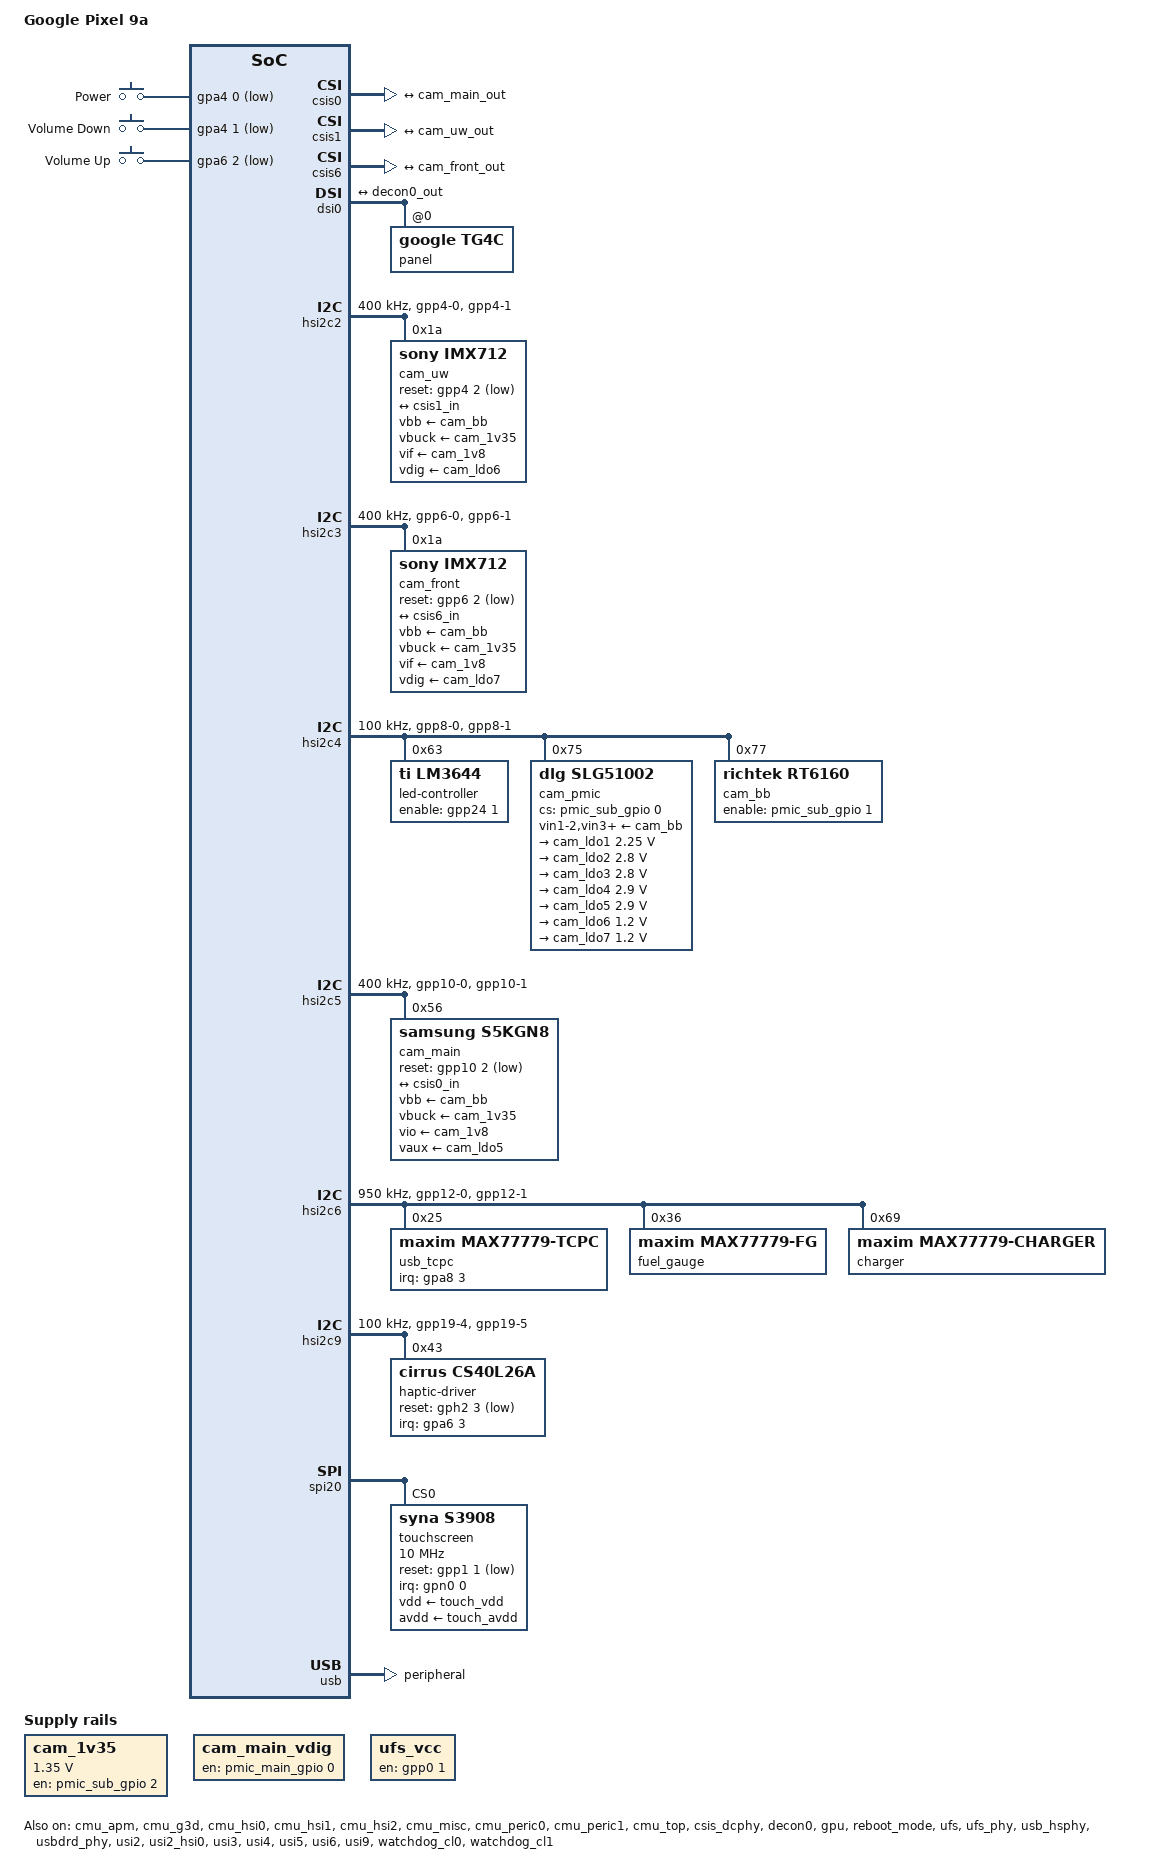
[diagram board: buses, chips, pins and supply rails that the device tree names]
// SPDX-License-Identifier: GPL-2.0-only
/*
 * Google Pixel 9a (tegu): first-light board file.
 *
 * Bootloader selector values from Google's GPL zumapro device tree.
 * Copyright 2023 Google LLC.
 */

/dts-v1/;

#include <dt-bindings/clock/google,zumapro-acpm.h>
#include <dt-bindings/gpio/gpio.h>
#include <dt-bindings/input/linux-event-codes.h>
#include <dt-bindings/leds/common.h>
#include <dt-bindings/media/video-interfaces.h>
#include <dt-bindings/usb/pd.h>
#include "../exynos-pinctrl.h"
#include "zumapro.dtsi"
#include "zumapro-reserved-memory.dtsi"

/ {
	model = "Google Pixel 9a";
	compatible = "google,zumapro-tegu", "google,zumapro";

	chosen {
		/*
		 * ABL requires bootargs to exist and appends its own after
		 * these. It also appends console=null, so a panic is silent:
		 * panic=10 resets the phone by itself.
		 * The firmware advertises PSCI SYSTEM_SUSPEND, but Linux has no
		 * Tensor SoC sleep sequence for "deep": suspend to idle only.
		 */
		bootargs = "console=tty0 clk_ignore_unused pd_ignore_unused rdinit=/init panic=10 mem_sleep_default=s2idle";
	};

	/*
	 * ABL picks the base DTB by matching these children against the
	 * SoC's product id, revision and package. The Pixel 9a has an A0 or
	 * A1 IPOP part.
	 */
	soc_compatible {
		A0_IPOP {
			product_id = <0x9875>;
			major = <0>;
			minor = <0>;
			pkg_mode = <1>;
		};

		A1_IPOP {
			product_id = <0x9875>;
			major = <0>;
			minor = <1>;
			pkg_mode = <1>;
		};
	};

	gpio-keys {
		compatible = "gpio-keys";

		key-power {
			label = "Power";
			linux,code = <KEY_POWER>;
			gpios = <&gpa4 0 GPIO_ACTIVE_LOW>;
			wakeup-source;
		};

		key-volume-down {
			label = "Volume Down";
			linux,code = <KEY_VOLUMEDOWN>;
			gpios = <&gpa4 1 GPIO_ACTIVE_LOW>;
		};

		key-volume-up {
			label = "Volume Up";
			linux,code = <KEY_VOLUMEUP>;
			gpios = <&gpa6 2 GPIO_ACTIVE_LOW>;
		};
	};

	/*
	 * The GPU's levels: the shader rates of the Pixel 9a's GPU DVFS table
	 * up to 890 MHz, each with its paired L2 rate through the ACPM "gpu"
	 * clock; gpu-thermal throttles them from 85 C. 940 MHz, the table's
	 * top, is left out until it has run on the 9a.
	 */
	gpu_opp: opp-table-gpu {
		compatible = "operating-points-v2";

		opp-150000000 {
			opp-hz = /bits/ 64 <150000000>;
		};

		opp-302000000 {
			opp-hz = /bits/ 64 <302000000>;
		};

		opp-337000000 {
			opp-hz = /bits/ 64 <337000000>;
		};

		opp-376000000 {
			opp-hz = /bits/ 64 <376000000>;
		};

		opp-419000000 {
			opp-hz = /bits/ 64 <419000000>;
		};

		opp-467000000 {
			opp-hz = /bits/ 64 <467000000>;
		};

		opp-521000000 {
			opp-hz = /bits/ 64 <521000000>;
		};

		opp-580000000 {
			opp-hz = /bits/ 64 <580000000>;
		};

		opp-649000000 {
			opp-hz = /bits/ 64 <649000000>;
		};

		opp-723000000 {
			opp-hz = /bits/ 64 <723000000>;
		};

		opp-807000000 {
			opp-hz = /bits/ 64 <807000000>;
		};

		opp-850000000 {
			opp-hz = /bits/ 64 <850000000>;
		};

		opp-890000000 {
			opp-hz = /bits/ 64 <890000000>;
		};
	};

	/* The cameras' 1.35 V (stock's PP1350_CAM), on the sub-PMIC's GPIO 2. */
	cam_1v35: regulator-cam-1v35 {
		compatible = "regulator-fixed";
		regulator-name = "pp1350-cam";
		regulator-min-microvolt = <1350000>;
		regulator-max-microvolt = <1350000>;
		gpio = <&pmic_sub_gpio 2 GPIO_ACTIVE_HIGH>;
		enable-active-high;
		startup-delay-us = <2000>;
	};

	/* The main camera's digital supply: a switch on the main PMIC's GPIO 0. */
	cam_main_vdig: regulator-cam-main-vdig {
		compatible = "regulator-fixed";
		regulator-name = "cam-main-vdig";
		gpio = <&pmic_main_gpio 0 GPIO_ACTIVE_HIGH>;
		enable-active-high;
	};

	/* UFS VCC, switched by gpp0-1 as on stock. */
	ufs_vcc: regulator-ufs-vcc {
		compatible = "regulator-fixed";
		regulator-name = "ufs-vcc";
		gpio = <&gpp0 1 GPIO_ACTIVE_HIGH>;
		enable-active-high;
		regulator-boot-on;
		regulator-always-on;
	};
};

&{/reserved-memory} {
	abl@f8800000 {
		reg = <0x0 0xf8800000 0x02000000>;
		no-map;
	};

	/* ABL's splash, still scanned out at handover. */
	cont_splash_mem: splash@fac00000 {
		reg = <0x0 0xfac00000 0x009fc900>;
		no-map;
	};

	/* DECON's scanout buffers, below 4 GiB for its 32-bit DMA. */
	display_pool: display-pool {
		compatible = "shared-dma-pool";
		reusable;
		size = <0x04000000>;
		alignment = <0x0 0x00200000>;
		alloc-ranges = <0x0 0x98000000 0x06000000>;
	};
};

&acpm_ipc {
	status = "okay";

	pmic_main: pmic-1 {
		compatible = "samsung,s2mpg14-pmic";

		pmic_main_gpio: gpio {
			compatible = "samsung,s2mpg14-gpio";
			gpio-controller;
			#gpio-cells = <2>;
		};

		regulators {
			touch_avdd: ldo4m {
				regulator-name = "touch-avdd";
			};

			eusb_vdd: ldo8m {
				regulator-name = "eusb-vdd";
			};

			eusb_vdda12: ldo9m {
				regulator-name = "eusb-vdda12";
			};

			touch_vdd: ldo25m {
				regulator-name = "touch-vdd";
			};
		};
	};

	/*
	 * The sub-PMIC. Its GPIO 0 selects the camera PMIC, GPIO 1 enables
	 * the camera buck-boost and GPIO 2 the cameras' 1.35 V, as in stock's
	 * board description; all ten pins are outputs, low, at hand-off.
	 */
	pmic_sub: pmic-2 {
		compatible = "samsung,s2mpg15-pmic";

		pmic_sub_gpio: gpio {
			compatible = "samsung,s2mpg15-gpio";
			gpio-controller;
			#gpio-cells = <2>;
		};

		regulators {
			/* the camera sensors' shared 1.8 V (stock's S2MPG15 LDO12) */
			cam_1v8: ldo12s {
				regulator-name = "cam-1v8";
			};
		};
	};
};

&ap2apm_mailbox {
	status = "okay";
};

&apm_sram {
	status = "okay";
};

&cmu_apm {
	status = "okay";
};

&cmu_g3d {
	status = "okay";
};

&cmu_hsi0 {
	status = "okay";
};

&cmu_hsi1 {
	status = "okay";
};

&cmu_hsi2 {
	status = "okay";
};

&cmu_misc {
	status = "okay";
};

&cmu_peric0 {
	status = "okay";
};

&cmu_peric1 {
	status = "okay";
};

&cmu_top {
	status = "okay";
};

/* The main camera's receiver: three C-PHY trios on DC-PHY slave 0. */
&csis0 {
	/* without them the link decodes frame starts and nothing else */
	google,lrte-packet-delimiters;
	status = "okay";

	port {
		csis0_in: endpoint {
			remote-endpoint = <&cam_main_out>;
			bus-type = <MEDIA_BUS_TYPE_CSI2_CPHY>;
			data-lanes = <1 2 3>;
		};
	};
};

/* The ultrawide's receiver: four D-PHY lanes on slave 1. */
&csis1 {
	status = "okay";

	port {
		csis1_in: endpoint {
			remote-endpoint = <&cam_uw_out>;
			data-lanes = <1 2 3 4>;
		};
	};
};

/* The front camera's receiver. */
&csis6 {
	status = "okay";

	port {
		csis6_in: endpoint {
			remote-endpoint = <&cam_front_out>;
			data-lanes = <1 2 3 4>;
		};
	};
};

/* The receive settings are a data file taken from the owner's own phone. */
&csis_dcphy {
	firmware-name = "omamobile/camera/zumapro-dcphy.bin";
	status = "okay";
};

/*
 * DECON0 scans out to DSIM0, so gs-decon can switch the link and the
 * panel between 60 and 120 Hz.
 */
&decon0 {
	memory-region = <&display_pool>, <&cont_splash_mem>;
	memory-region-names = "pool", "boot-framebuffer";
	status = "okay";

	port {
		decon0_out: endpoint {
			remote-endpoint = <&dsi0_in>;
		};
	};
};

&dsi0 {
	status = "okay";

	panel@0 {
		compatible = "google,tg4c";
		reg = <0>;
	};

	port {
		dsi0_in: endpoint {
			remote-endpoint = <&decon0_out>;
		};
	};
};

/* The keys' banks and the touchscreen's raise their own interrupts. */
&gpa4 {
	interrupt-controller;
	#interrupt-cells = <2>;
	interrupts = <GIC_SPI 28 IRQ_TYPE_LEVEL_HIGH>,
		     <GIC_SPI 29 IRQ_TYPE_LEVEL_HIGH>;
};

&gpa6 {
	interrupt-controller;
	#interrupt-cells = <2>;
	interrupts = <GIC_SPI 30 IRQ_TYPE_LEVEL_HIGH>,
		     <GIC_SPI 31 IRQ_TYPE_LEVEL_HIGH>,
		     <GIC_SPI 32 IRQ_TYPE_LEVEL_HIGH>,
		     <GIC_SPI 33 IRQ_TYPE_LEVEL_HIGH>,
		     <GIC_SPI 34 IRQ_TYPE_LEVEL_HIGH>,
		     <GIC_SPI 35 IRQ_TYPE_LEVEL_HIGH>;
};

/* The USB-C port controller's interrupt (gpa8-3). */
&gpa8 {
	interrupt-controller;
	#interrupt-cells = <2>;
	interrupts = <GIC_SPI 44 IRQ_TYPE_LEVEL_HIGH>,
		     <GIC_SPI 45 IRQ_TYPE_LEVEL_HIGH>,
		     <GIC_SPI 46 IRQ_TYPE_LEVEL_HIGH>,
		     <GIC_SPI 47 IRQ_TYPE_LEVEL_HIGH>;
};

&gpn0 {
	interrupt-controller;
	#interrupt-cells = <2>;
	interrupts = <GIC_SPI 0 IRQ_TYPE_LEVEL_HIGH>;
};

/*
 * The GPU's core clock is ACPM's paired "gpu" clock, which sets the shader
 * (G3D) and L2 (G3DL2) domains together; coregroup and stacks stay on
 * CMU_G3D's gates.
 */
&gpu {
	clocks = <&acpm_ipc ZUMAPRO_CLK_ACPM_GPU>,
		 <&cmu_g3d CLK_GOUT_G3D_COREGROUP>,
		 <&cmu_g3d CLK_GOUT_G3D_STACKS>;
	operating-points-v2 = <&gpu_opp>;
	status = "okay";
};

/*
 * The ultrawide, a Sony IMX712 (stock's sensor-leshen-uw), powered in stock's
 * order: PP3200_CAM_BB, PP1350, LDO12S, LDO3, LDO6, reset, master clock.
 * Master clock: CMU_TOP CIS_CLK0 from OSCCLK (24.576 MHz; stock asks for
 * 24 MHz), out on gpp3-0.
 */
&hsi2c2 {
	clock-frequency = <400000>;
	pinctrl-names = "default";
	pinctrl-0 = <&hsi2c2_bus>;
	status = "okay";

	cam_uw: camera@1a {
		compatible = "sony,imx712";
		reg = <0x1a>;
		clocks = <&cmu_top CLK_DOUT_CIS_CLK0>;
		assigned-clocks = <&cmu_top CLK_MOUT_CIS_CLK0>,
				  <&cmu_top CLK_DOUT_CIS_CLK0>;
		assigned-clock-parents = <&oscclk>, <0>;
		assigned-clock-rates = <0>, <24576000>;
		pinctrl-names = "default";
		pinctrl-0 = <&cam_uw_mclk>;
		/* high runs the sensor */
		reset-gpios = <&gpp4 2 GPIO_ACTIVE_LOW>;
		vbb-supply = <&cam_bb>;
		vbuck-supply = <&cam_1v35>;
		vif-supply = <&cam_1v8>;
		vdig-supply = <&cam_ldo6>;
		vana-supply = <&cam_ldo3>;
		firmware-name = "omamobile/camera/imx712-uw.bin";
		orientation = <1>;	/* back */

		port {
			cam_uw_out: endpoint {
				remote-endpoint = <&csis1_in>;
				data-lanes = <1 2 3 4>;
				link-frequencies = /bits/ 64 <552960000 479232000>;
			};
		};
	};
};

/*
 * The front camera, a second IMX712 (stock's sensor-leshen), powered in
 * stock's order: PP3200_CAM_BB, PP1350, LDO12S, LDO2, LDO7, reset, master
 * clock (CMU_TOP CIS_CLK1 from OSCCLK, out on gpp5-0). This bus has no
 * external pull-ups; stock turns the internal ones on.
 */
&hsi2c3 {
	clock-frequency = <400000>;
	pinctrl-names = "default";
	pinctrl-0 = <&hsi2c3_bus>;
	status = "okay";

	cam_front: camera@1a {
		compatible = "sony,imx712";
		reg = <0x1a>;
		clocks = <&cmu_top CLK_DOUT_CIS_CLK1>;
		assigned-clocks = <&cmu_top CLK_MOUT_CIS_CLK1>,
				  <&cmu_top CLK_DOUT_CIS_CLK1>;
		assigned-clock-parents = <&oscclk>, <0>;
		assigned-clock-rates = <0>, <24576000>;
		pinctrl-names = "default";
		pinctrl-0 = <&cam_front_mclk>;
		/* high runs the sensor */
		reset-gpios = <&gpp6 2 GPIO_ACTIVE_LOW>;
		vbb-supply = <&cam_bb>;
		vbuck-supply = <&cam_1v35>;
		vif-supply = <&cam_1v8>;
		vdig-supply = <&cam_ldo7>;
		vana-supply = <&cam_ldo2>;
		/* the same sensor and modes as the ultrawide */
		firmware-name = "omamobile/camera/imx712-uw.bin";
		orientation = <0>;	/* front */

		port {
			cam_front_out: endpoint {
				remote-endpoint = <&csis6_in>;
				data-lanes = <1 2 3 4>;
				link-frequencies = /bits/ 64 <552960000 479232000>;
			};
		};
	};
};

/*
 * The torch (a TI LM3644 flash driver, both LED outputs on one white LED)
 * and the cameras' power chips.
 */
&hsi2c4 {
	clock-frequency = <100000>;
	pinctrl-names = "default";
	pinctrl-0 = <&hsi2c4_bus>;
	status = "okay";

	led-controller@63 {
		compatible = "ti,lm3644";
		reg = <0x63>;
		enable-gpios = <&gpp24 1 GPIO_ACTIVE_HIGH>;
		pinctrl-names = "default";
		pinctrl-0 = <&torch_enable>;

		led {
			function = LED_FUNCTION_TORCH;
			color = <LED_COLOR_ID_WHITE>;
			led-sources = <1 2>;
			/* A dim flashlight, far below the part's and the LED's limits. */
			led-max-microamp = <75000>;
		};
	};

	/*
	 * The camera PMIC: an SLG51002 behind the camera buck-boost, whose
	 * LDOs feed the three camera sensors. Voltages as stock's board
	 * description; every LDO stays off until a sensor is powered.
	 */
	cam_pmic: pmic@75 {
		compatible = "dlg,slg51002";
		reg = <0x75>;
		dlg,cs-gpios = <&pmic_sub_gpio 0 GPIO_ACTIVE_HIGH>;
		vin1-2-supply = <&cam_bb>;
		vin3-supply = <&cam_bb>;
		vin4-supply = <&cam_bb>;
		vin5-supply = <&cam_bb>;

		regulators {
			cam_ldo1: ldo1 {
				regulator-name = "cam-ldo1";
				regulator-min-microvolt = <2250000>;
				regulator-max-microvolt = <2250000>;
			};

			cam_ldo2: ldo2 {
				regulator-name = "cam-ldo2";
				regulator-min-microvolt = <2800000>;
				regulator-max-microvolt = <2800000>;
			};

			cam_ldo3: ldo3 {
				regulator-name = "cam-ldo3";
				regulator-min-microvolt = <2800000>;
				regulator-max-microvolt = <2800000>;
			};

			cam_ldo4: ldo4 {
				regulator-name = "cam-ldo4";
				regulator-min-microvolt = <2900000>;
				regulator-max-microvolt = <2900000>;
			};

			cam_ldo5: ldo5 {
				regulator-name = "cam-ldo5";
				regulator-min-microvolt = <2900000>;
				regulator-max-microvolt = <2900000>;
			};

			cam_ldo6: ldo6 {
				regulator-name = "cam-ldo6";
				regulator-min-microvolt = <1200000>;
				regulator-max-microvolt = <1200000>;
			};

			cam_ldo7: ldo7 {
				regulator-name = "cam-ldo7";
				regulator-min-microvolt = <1200000>;
				regulator-max-microvolt = <1200000>;
			};
		};
	};

	/* The camera buck-boost (stock's PP3200_CAM_BB), an RT6160. */
	cam_bb: regulator@77 {
		compatible = "richtek,rt6160";
		reg = <0x77>;
		enable-gpios = <&pmic_sub_gpio 1 GPIO_ACTIVE_HIGH>;
		regulator-name = "pp3200-cam-bb";
		regulator-min-microvolt = <3200000>;
		regulator-max-microvolt = <3200000>;
		regulator-enable-ramp-delay = <2000>;
	};
};

/*
 * The main camera, a Samsung GN8 (stock's sensor-barghest), on three C-PHY
 * trios, powered in stock's order: PP3200_CAM_BB, PP1350, LDO12S, LDO5,
 * LDO4, LDO1, the digital supply, reset, master clock. Master clock:
 * CMU_TOP CIS_CLK3 from OSCCLK (24.576 MHz; stock asks for 26 MHz), out on
 * gpp9-0. Bus pins pulled up internally, as stock.
 */
&hsi2c5 {
	clock-frequency = <400000>;
	pinctrl-names = "default";
	pinctrl-0 = <&hsi2c5_bus>;
	status = "okay";

	cam_main: camera@56 {
		compatible = "samsung,s5kgn8";
		reg = <0x56>;
		clocks = <&cmu_top CLK_DOUT_CIS_CLK3>;
		assigned-clocks = <&cmu_top CLK_MOUT_CIS_CLK3>,
				  <&cmu_top CLK_DOUT_CIS_CLK3>;
		assigned-clock-parents = <&oscclk>, <0>;
		assigned-clock-rates = <0>, <24576000>;
		pinctrl-names = "default";
		pinctrl-0 = <&cam_main_mclk>;
		reset-gpios = <&gpp10 2 GPIO_ACTIVE_LOW>;
		vbb-supply = <&cam_bb>;
		vbuck-supply = <&cam_1v35>;
		vio-supply = <&cam_1v8>;
		vaux-supply = <&cam_ldo5>;
		vaux2-supply = <&cam_ldo4>;
		vana-supply = <&cam_ldo1>;
		vdig-supply = <&cam_main_vdig>;
		firmware-name = "omamobile/camera/s5kgn8-main.bin";
		/* its lines burst at over 2 GB/s; 550 MB/s lines land cleanly */
		samsung,max-line-throughput = <500>;
		orientation = <1>;	/* back */

		port {
			cam_main_out: endpoint {
				remote-endpoint = <&csis0_in>;
				bus-type = <MEDIA_BUS_TYPE_CSI2_CPHY>;
				data-lanes = <1 2 3>;
				link-frequencies = /bits/ 64 <1370112000>;
			};
		};
	};
};

/*
 * The MAX77779's bus: its USB-C port controller, a sink with no link to the
 * USB controller's role yet, its fuel gauge and its charger.
 */
&hsi2c6 {
	clock-frequency = <950000>;
	pinctrl-names = "default";
	pinctrl-0 = <&hsi2c6_bus>;
	status = "okay";

	usb_tcpc: tcpc@25 {
		compatible = "maxim,max77779-tcpc";
		reg = <0x25>;
		interrupt-parent = <&gpa8>;
		interrupts = <3 IRQ_TYPE_LEVEL_LOW>;
		pinctrl-names = "default";
		pinctrl-0 = <&usb_pd_irq>;

		connector {
			compatible = "usb-c-connector";
			label = "USB-C";
			data-role = "dual";
			power-role = "sink";
			self-powered;
			op-sink-microwatt = <2600000>;
			sink-pdos = <PDO_FIXED(5000, 3000, PDO_FIXED_USB_COMM)>;
		};
	};

	fuel_gauge: fuel-gauge@36 {
		compatible = "maxim,max77779-fg";
		reg = <0x36>;
		shunt-resistor-micro-ohms = <2000>;
		power-supplies = <&charger>;
	};

	charger: charger@69 {
		compatible = "maxim,max77779-charger";
		reg = <0x69>;
	};
};

/* The haptics: a CS40L26 on the 9a's LRA, with Google's limits for it. */
&hsi2c9 {
	clock-frequency = <100000>;
	pinctrl-names = "default";
	pinctrl-0 = <&hsi2c9_bus>;
	status = "okay";

	haptic-driver@43 {
		compatible = "cirrus,cs40l26a";
		reg = <0x43>;
		interrupt-parent = <&gpa6>;
		interrupts = <3 IRQ_TYPE_LEVEL_LOW>;
		reset-gpios = <&gph2 3 GPIO_ACTIVE_LOW>;
		pinctrl-names = "default";
		pinctrl-0 = <&haptic_reset>;
		cirrus,boost-peak-microamp = <2500000>;
		cirrus,boost-ctl-microvolt = <10000000>;
		cirrus,lra-f0-hz = <162>;
		cirrus,lra-redc-micro-ohms = <14100007>;
		cirrus,vpbr-threshold-microvolt = <3008000>;
	};
};

&pinctrl_alive {
	status = "okay";

	usb_pd_irq: usb-pd-irq-pins {
		samsung,pins = "gpa8-3";
		samsung,pin-function = <EXYNOS_PIN_FUNC_EINT>;
		samsung,pin-pud = <EXYNOS_PIN_PULL_UP>;
		samsung,pin-drv = <0>;
	};
};

&pinctrl_custom_alive {
	status = "okay";
};

&pinctrl_far_alive {
	status = "okay";
};

&pinctrl_hsi1 {
	status = "okay";

	haptic_reset: haptic-reset-pins {
		samsung,pins = "gph2-3";
		samsung,pin-function = <EXYNOS_PIN_FUNC_OUTPUT>;
		samsung,pin-pud = <EXYNOS_PIN_PULL_NONE>;
		samsung,pin-drv = <0>;
	};
};

&pinctrl_hsi2 {
	status = "okay";
};

&pinctrl_hsi2ufs {
	status = "okay";
};

&pinctrl_peric0 {
	status = "okay";

	cam_front_mclk: cam-front-mclk-pins {
		samsung,pins = "gpp5-0";
		samsung,pin-function = <EXYNOS_PIN_FUNC_2>;
		samsung,pin-pud = <EXYNOS_PIN_PULL_NONE>;
		samsung,pin-drv = <1>;
	};

	cam_main_mclk: cam-main-mclk-pins {
		samsung,pins = "gpp9-0";
		samsung,pin-function = <EXYNOS_PIN_FUNC_2>;
		samsung,pin-pud = <EXYNOS_PIN_PULL_NONE>;
		samsung,pin-drv = <1>;
	};

	cam_uw_mclk: cam-uw-mclk-pins {
		samsung,pins = "gpp3-0";
		samsung,pin-function = <EXYNOS_PIN_FUNC_2>;
		samsung,pin-pud = <EXYNOS_PIN_PULL_NONE>;
		samsung,pin-drv = <1>;
	};

	hsi2c2_bus: hsi2c2-bus-pins {
		samsung,pins = "gpp4-0", "gpp4-1";
		samsung,pin-function = <EXYNOS_PIN_FUNC_3>;
		samsung,pin-pud = <EXYNOS_PIN_PULL_NONE>;
		samsung,pin-drv = <0>;
	};

	hsi2c3_bus: hsi2c3-bus-pins {
		samsung,pins = "gpp6-0", "gpp6-1";
		samsung,pin-function = <EXYNOS_PIN_FUNC_3>;
		samsung,pin-pud = <EXYNOS_PIN_PULL_UP>;
		samsung,pin-drv = <0>;
	};

	hsi2c4_bus: hsi2c4-bus-pins {
		samsung,pins = "gpp8-0", "gpp8-1";
		samsung,pin-function = <EXYNOS_PIN_FUNC_3>;
		samsung,pin-pud = <EXYNOS_PIN_PULL_NONE>;
		samsung,pin-drv = <0>;
	};

	hsi2c5_bus: hsi2c5-bus-pins {
		samsung,pins = "gpp10-0", "gpp10-1";
		samsung,pin-function = <EXYNOS_PIN_FUNC_3>;
		samsung,pin-pud = <EXYNOS_PIN_PULL_UP>;
		samsung,pin-drv = <0>;
	};

	hsi2c6_bus: hsi2c6-bus-pins {
		samsung,pins = "gpp12-0", "gpp12-1";
		samsung,pin-function = <EXYNOS_PIN_FUNC_3>;
		samsung,pin-pud = <EXYNOS_PIN_PULL_NONE>;
		samsung,pin-drv = <0>;
	};

	touch_reset_held: touch-reset-held-pins {
		samsung,pins = "gpp1-1";
		samsung,pin-function = <EXYNOS_PIN_FUNC_OUTPUT>;
		samsung,pin-val = <0>;
	};
};

&pinctrl_peric1 {
	status = "okay";

	hsi2c9_bus: hsi2c9-bus-pins {
		samsung,pins = "gpp19-4", "gpp19-5";
		samsung,pin-function = <EXYNOS_PIN_FUNC_2>;
		samsung,pin-pud = <EXYNOS_PIN_PULL_NONE>;
		samsung,pin-drv = <0>;
	};

	torch_enable: torch-enable-pins {
		samsung,pins = "gpp24-1";
		samsung,pin-function = <EXYNOS_PIN_FUNC_OUTPUT>;
		samsung,pin-pud = <EXYNOS_PIN_PULL_NONE>;
		samsung,pin-drv = <0>;
	};
};

&pmu_system_controller {
	status = "okay";
};

&reboot_mode {
	status = "okay";
};

/* The touchscreen on USI2's dedicated pads: native CS0, SPI mode 0. */
&spi20 {
	status = "okay";

	touchscreen@0 {
		compatible = "syna,s3908";
		reg = <0>;
		interrupt-parent = <&gpn0>;
		interrupts = <0 IRQ_TYPE_LEVEL_LOW>;
		reset-gpios = <&gpp1 1 GPIO_ACTIVE_LOW>;
		vdd-supply = <&touch_vdd>;
		avdd-supply = <&touch_avdd>;
		spi-max-frequency = <10000000>;
	};
};

&sysreg_apm {
	status = "okay";
};

&sysreg_hsi0 {
	status = "okay";
};

&sysreg_ispfe {
	status = "okay";
};

&sysreg_peric0 {
	status = "okay";
};

&sysreg_peric1 {
	status = "okay";
};

&sysreg_ufs {
	status = "okay";
};

/*
 * Behind the init's storage guard (only slot B's boot images and userdata
 * writable), which runs before the disks appear.
 */
&ufs {
	vcc-supply = <&ufs_vcc>;
	status = "okay";
};

&ufs_phy {
	status = "okay";
};

/*
 * USB 2.0 peripheral. The core also holds the sub-control clock, which
 * clocks its link registers: the PHY turns that clock off in suspend, and
 * the core touches those registers before it initialises the PHY again.
 */
&usb {
	clocks = <&cmu_hsi0 CLK_GOUT_HSI0_USB_LINK>,
		 <&cmu_hsi0 CLK_MOUT_HSI0_USB20_REF>,
		 <&cmu_hsi0 CLK_GOUT_HSI0_USB_SUSPEND>,
		 <&cmu_hsi0 CLK_GOUT_HSI0_USB_SUBCTL>;
	clock-names = "bus_early", "ref", "suspend", "subctl";
	dr_mode = "peripheral";
	maximum-speed = "high-speed";
	snps,dis-u2-freeclk-exists-quirk;
	snps,usb2-gadget-lpm-disable;
	status = "okay";
};

&usb_hsphy {
	vdd-supply = <&eusb_vdd>;
	vdda12-supply = <&eusb_vdda12>;
	status = "okay";
};

&usbdrd_phy {
	status = "okay";
};

&usi2 {
	status = "okay";
};

/*
 * Hold the touchscreen in reset before the USI's probe switches it to SPI;
 * the touch driver releases it.
 */
&usi2_hsi0 {
	pinctrl-names = "default";
	pinctrl-0 = <&touch_reset_held>;
	status = "okay";
};

&usi3 {
	status = "okay";
};

&usi4 {
	status = "okay";
};

&usi5 {
	status = "okay";
};

&usi6 {
	status = "okay";
};

&usi9 {
	status = "okay";
};

&watchdog_cl0 {
	status = "okay";
};

&watchdog_cl1 {
	status = "okay";
};
